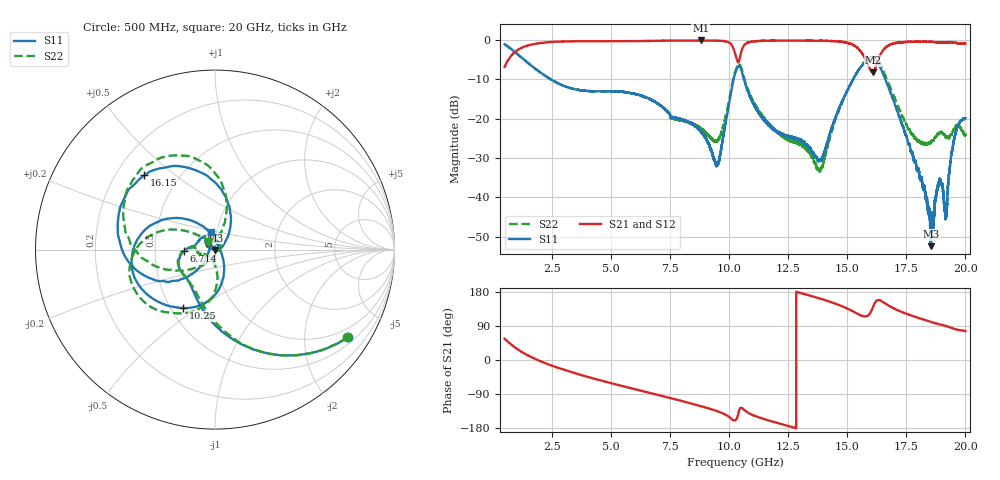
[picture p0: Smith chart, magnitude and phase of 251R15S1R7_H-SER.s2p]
!{251R15S1R7}
!Johanson Technology Inc.
!www.johansontechnology.com
!Test Board Conditions:
!Substrate Type  RO4350B
!Substrate Thickness  20 mil
!Substrate Dk  3.66
!TL Type: GCPW
!TL Trace Width  34 mil
!TL Gap  10 mil
!Electrode orientation  Horizontal
!DUT TOPOLOGY	SERIES
!Mounting Pad LxW  26x52 mil
! Created Thu Mar 12 16:36:31 2020
# mhz S ma R 50
! 2 Port Network Data from SP1.SP block
! freq  magS11  angS11  magS21  angS21  magS12  angS12  magS22  angS22
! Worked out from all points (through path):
!   19501 points, 500 MHz to 20 GHz, reference 50 ohm
!   highest |S21| = -0.07 dB at 8.798 GHz (marker M1); lowest = -8.2 dB at 16.09 GHz (marker M2)
!   group delay of S21, straight-line fit = 43.1 ps
!   lowest |S11| = -52.4 dB at 18.54 GHz (marker M3), VSWR 1.00, Z = 50 - j0.235 ohm
!   |S11| at or under -10 dB: 2.465 GHz to 10.19 GHz (7.723 GHz wide, 122 % of centre); 10.63 GHz to 15.24 GHz (4.607 GHz wide, 35.6 % of centre); 16.62 GHz to end of sweep (the widest 3 of 4)
!   |S22| runs from -33.5 to -1.1 dB; largest |S21 - S12| = 0.015
!   S11 on the Smith chart (normalised r, x): 500 MHz: 0.70, -3.19; 6.714 GHz: 0.70, -0.01; 10.25 GHz: 0.58, -0.44; 16.15 GHz: 0.32, +0.39; 20 GHz: 0.94, +0.19
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500  0.8864 -33.5  0.4576 56.2  0.4587 56.2  0.884 -33.5
1768  0.441 -87.3  0.895 3.7  0.8959 3.6  0.4404 -85.3
3750  0.2299 -130.1  0.9686 -39.9  0.9694 -39.8  0.2298 -128.8
6714  0.174 -176.9  0.9784 -87.9  0.979 -87.9  0.1727 -177.6
7000  0.1549 177.9  0.9822 -92.3  0.9834 -92.4  0.1543 178.8
8798  0.06959 105.0  0.9922 -121.7  0.9905 -121.7  0.07628 -160.8
9520  0.02696 13.9  0.9851 -135.6  0.9851 -135.6  0.05352 -118.2
10249  0.3698 -118.4  0.6854 -159.4  0.6857 -159.5  0.3918 -115.4
10250  0.3707 -118.6  0.6836 -159.4  0.6845 -159.4  0.3928 -115.5
10448  0.468 -173.4  0.577 -129.4  0.5784 -129.7  0.496 -163.6
10701  0.2704 139.2  0.9012 -134.8  0.8989 -135.1  0.2835 157.0
13500  0.03815 125.5  0.9861 168.4  0.9861 168.5  0.03228 31.0
13903  0.03045 179.1  0.9841 161.1  0.9838 161.1  0.02354 -47.7
15311  0.3425 -149.3  0.8514 126.1  0.8529 125.7  0.3437 -164.4
16085  0.5794 142.3  0.3894 138.8  0.3912 139.4  0.6084 130.5
16149  0.5722 133.7  0.4128 148.1  0.4141 148.4  0.5975 123.4
16750  0.25 71.0  0.8606 143.9  0.8575 144.4  0.2827 77.3
18537  0.002388 -99.7  0.9509 100.8  0.9516 100.3  0.04979 106.4
18907  0.01715 102.6  0.9329 94.2  0.9289 94.1  0.06567 110.2
19175  0.006121 124.1  0.9425 89.7  0.939 90.1  0.05755 108.0
19559  0.06124 145.6  0.9289 81.8  0.9242 81.8  0.07523 128.2
20000  0.1021 101.6  0.9077 76.1  0.9071 76.1  0.06234 128.3
